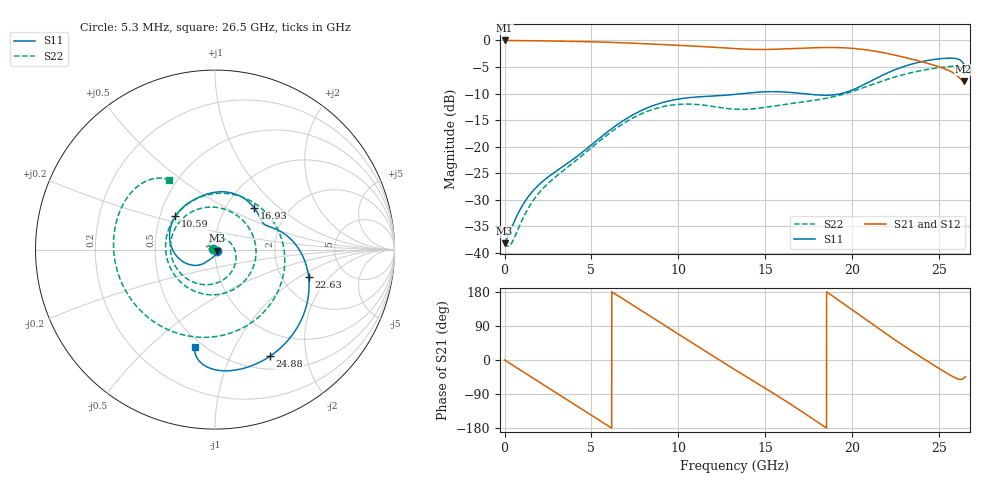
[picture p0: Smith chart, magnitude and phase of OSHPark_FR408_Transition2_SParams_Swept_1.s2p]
! TOUCHSTONE file generated by CST MICROWAVE STUDIO
! Date and time: Tue Jan  7 09:43:03 2020
! Project name: OSHPark_FR408_Transition2.cst
! Parameters = {GND_Plane_XMax=11.5; Cap_Disk_XOffset=0; Cap_Disk2_YCenter=-1.03; Cap_Disk_YCenter=1.03; Cap_Disk_XCenter=7.39; Cap_Disk_Radius=0.5; BottomSupport_Left_YMax=4.76; BottomSupport_Left_YMin=3.74; BottomSupport_Right_YMax=-3.74; BottomSupport_Right_YMin=-4.76; BottomSupport_XMax=11.64; B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
! Header version: 2015
! Port assignment regex: !\s*Touchstone port\s*([0-9]+)\s*=\s*CST MWS port\s*([0-9]+)\s*\(\"(.*)\"\)(\s*mode\s*([0-9]+))?.*
! Touchstone port assignment:
! Touchstone port 1 = CST MWS port 1 ("")
! Touchstone port 2 = CST MWS port 2 ("")
# GHz S MA R 50
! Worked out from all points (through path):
!   5000 points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, 5.3 MHz to 26.5 GHz, reference 50 ohm
!   highest |S21| = 0.00 dB at 5.3 MHz (marker M1); lowest = -7.7 dB at 26.39 GHz (marker M2)
!   group delay of S21, straight-line fit = 82.3 ps
!   lowest |S11| = -38.2 dB at 5.3 MHz (marker M3), VSWR 1.02, Z = 51.1 - j0.518 ohm
!   |S11| at or under -10 dB: start of sweep to 13.71 GHz; 17.13 GHz to 19.37 GHz (2.238 GHz wide, 12.3 % of centre)
!   |S22| runs from -38.8 to -4.9 dB; largest |S21 - S12| = 0
!   S11 on the Smith chart (normalised r, x): 5.3 MHz: 1.02, -0.01; 10.59 GHz: 0.60, +0.25; 16.93 GHz: 1.36, +0.70; 22.63 GHz: 2.79, -1.22; 24.88 GHz: 0.67, -1.43; 26.5 GHz: 0.46, -0.71
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0.0053  0.01225 -24.4  0.9999 -0.2  0.9999 -0.2  0.01233 154.9
1.1183  0.02943 -87.1  0.9958 -32.6  0.9958 -32.6  0.0221 -174.0
2.4009  0.05016 -110.5  0.9896 -69.9  0.9896 -69.9  0.04341 142.8
4.4255  0.08719 -125.8  0.9765 -129.0  0.9765 -129.0  0.08164 45.0
6.5031  0.1618 -148.5  0.9549 170.2  0.9549 170.2  0.152 -50.9
8.8404  0.2528 170.9  0.9189 101.9  0.9189 101.9  0.2321 -143.8
10.5894  0.2889 139.7  0.89 51.1  0.89 51.1  0.2515 150.2
11.925  0.2991 118.8  0.8653 12.3  0.8653 12.3  0.2398 100.1
13.2553  0.3106 100.2  0.8376 -25.9  0.8376 -25.9  0.2251 49.7
15.2004  0.3292 71.2  0.8235 -80.4  0.8235 -80.4  0.2372 -35.4
16.9335  0.3186 46.3  0.8437 -131.0  0.8437 -131.0  0.2605 -125.5
17.6702  0.3099 37.9  0.8525 -153.5  0.8525 -153.5  0.2708 -166.1
18.7302  0.3056 29.1  0.8582 173.2  0.8582 173.2  0.2904 133.7
19.7796  0.3309 22.7  0.8478 139.2  0.8478 139.2  0.3223 73.4
20.9138  0.4024 11.8  0.8109 102.1  0.8109 102.1  0.3731 11.6
22.0851  0.4998 -6.3  0.7492 64.6  0.7492 64.6  0.434 -45.3
22.631  0.5437 -16.4  0.716 47.5  0.716 47.5  0.4617 -69.5
23.7122  0.6167 -38.0  0.6477 14.7  0.6477 14.7  0.5108 -114.0
24.8835  0.6681 -62.5  0.572 -19.4  0.572 -19.4  0.5514 -159.6
25.7951  0.6796 -83.2  0.4958 -44.3  0.4958 -44.3  0.5712 163.4
26.394  0.6023 -100.1  0.4116 -48.4  0.4116 -48.4  0.5184 130.1
26.5  0.5524 -101.5  0.4296 -44.1  0.4296 -44.1  0.4615 123.1
